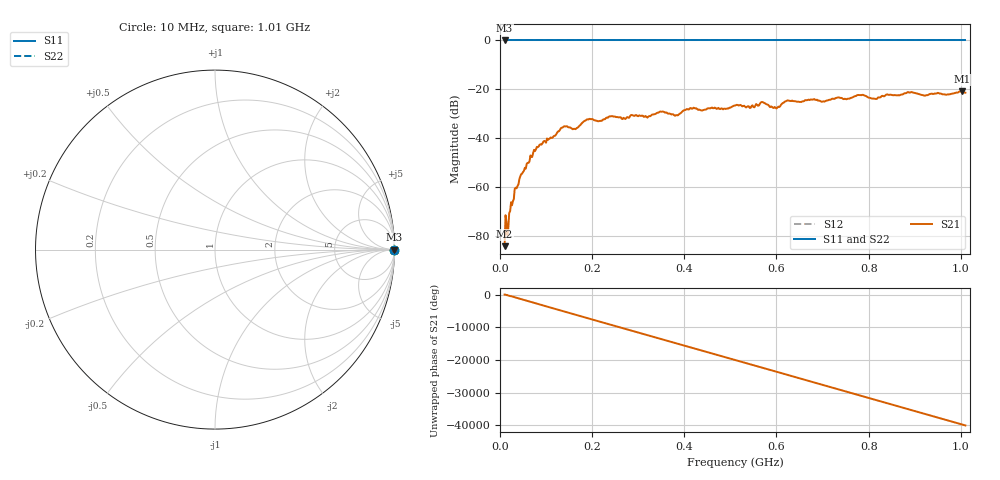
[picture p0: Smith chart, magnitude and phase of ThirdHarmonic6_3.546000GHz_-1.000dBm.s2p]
! 8/17/2025 11:41:36 AM
! C:\ANRITSUVNA\TEMP\TEMP.S2P
! CHANNEL.1
! TR.MEASUREMENT
! RAW.DATA
! RF.CORRECTION.OFF
! AVERAGING.OFF
! IF.BANDWIDTH: 5KHZ
! SWEEPTYPE:  FREQ.SWEEP(Linear)
! Reference Plane Port Info
! PORT:  PORT1  PORT2
! DISTANCE:  0  m  0  m
! TIME:  0  s  0  s
! PHASE.OFFSET:  0  deg.  0  deg.
! LOSS:  0  dB  0  dB
! REF.LOSS:  0  dB  0  dB
! REF.FREQ:  0  Hz  0  Hz
! Power Info
! POWER:  -20  dBm  -20  dBm
! EFF.POWER:  -20  dBm  -20  dBm
! SOURCE.ATTEN:  0  dB  0  dB
! TEST.ATTEN:  0  dB  0  dB
# GHZ S RI R 50.0
! FREQ.GHZ  S11RE  S11IM  S21RE  S21IM  S12RE  S12IM  S22RE  S22IM
!; PortSelection: Port_12
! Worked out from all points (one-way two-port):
!   501 points, 10 MHz to 1.01 GHz, reference 50 ohm
!   highest |S21| = -20.77 dB at 1.002 GHz (marker M1); lowest = -84.2 dB at 10 MHz (marker M2)
!   lowest |S11| = 0.0 dB at 10 MHz (marker M3)
!   |S11| at or under -10 dB: nowhere
!   |S22| runs from 0.0 to 0.0 dB; largest |S21 - S12| = 1.1
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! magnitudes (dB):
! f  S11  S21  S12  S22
! 10 MHz  0.0  -84.2  0.0  0.0
! 18 MHz  0.0  -76.9  0.0  0.0
! 28 MHz  0.0  -65.8  0.0  0.0
! 46 MHz  0.0  -54.7  0.0  0.0
! 76 MHz  0.0  -45.2  0.0  0.0
! 136 MHz  0.0  -35.6  0.0  0.0
! 162 MHz  0.0  -36.2  0.0  0.0
! 178 MHz  0.0  -33.8  0.0  0.0
! 344 MHz  0.0  -29.5  0.0  0.0
! 382 MHz  0.0  -30.6  0.0  0.0
! 416 MHz  0.0  -28.0  0.0  0.0
! 510 MHz  0.0  -26.6  0.0  0.0
! 546 MHz  0.0  -26.8  0.0  0.0
! 570 MHz  0.0  -25.2  0.0  0.0
! 598 MHz  0.0  -27.6  0.0  0.0
! 622 MHz  0.0  -24.7  0.0  0.0
! 678 MHz  0.0  -24.2  0.0  0.0
! 784 MHz  0.0  -22.4  0.0  0.0
! 814 MHz  0.0  -23.9  0.0  0.0
! 844 MHz  0.0  -22.3  0.0  0.0
! 1.002 GHz  0.0  -20.8  0.0  0.0
! 1.01 GHz  0.0  -21.4  0.0  0.0
